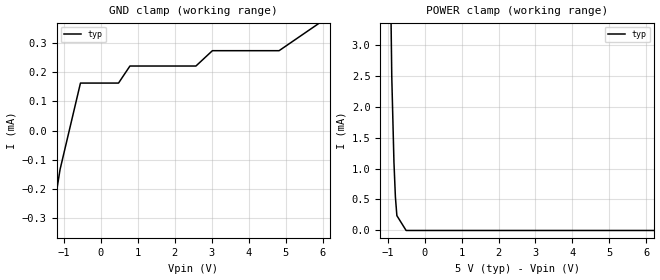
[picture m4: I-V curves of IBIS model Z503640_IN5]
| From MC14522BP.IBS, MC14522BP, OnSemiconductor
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| (C) COPYRIGHT 1993-2000
| MENTOR GRAPHICS CORPORATION
| ICX STANDARD LIBRARY, ICX PROJECT MODELING,
| ICX CUSTOM MODELING, ICX VENDOR MODEL
| ALL RIGHTS RESERVED.
| THE FOLLOWING ARE TRADEMARKS OR SERVICE MARKS OF
| MENTOR GRAPHICS CORPORATION:ICX (R), ICX STANDARD
| LIBRARY(R), ICX PROJECT MODELING(R), ICX CUSTOM
| MODELING(R), qualityIBIS(TM), MODELVIEWER(TM),
| AND MODELEDITOR(TM)
| ALL COPIES OF SOFTWARE, INCLUDING BUT NOT LIMITED TO
| ANY MODIFICATIONS, ENHANCEMENTS OR DERIVATIVE WORKS,
| MUST CONTAIN ALL MENTOR GRAPHICS CORPORATION'S
| NOTICES AND LEGENDS, INCLUDING THOSE EMBEDDED IN
| SOFTWARE AND THOSE AFFIXED TO SOFTWARE MEDIUM
| AND CONTAINER, AS RECEIVED FROM MENTOR GRAPHICS
| CORPORATION.
| Model Application Version 1.89 2/18/99.
[Model] Z503640_IN5
Model_type Input
Vinl = 1.500V
Vinh = 3.500V
C_comp 4.000pF NA NA
| variable typ   min   max
[Voltage Range] 5.000V NA NA
[GND Clamp Reference] 0.000V NA NA
[POWER Clamp Reference] 5.000V NA NA
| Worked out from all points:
|   POWER clamp passes 1 mA (typ) near -0.82 V on its own axis
[GND Clamp]
-5V       -3.228mA   NA         NA
-1.105V   -133.9uA   NA         NA
-552.5mV  162.8uA    NA         NA
477.5mV   162.8uA    NA         NA
786.4mV   221.3uA    NA         NA
2.572V    221.3uA    NA         NA
3.018V    273.9uA    NA         NA
4.822V    273.9uA    NA         NA
10V       724uA      NA         NA
[POWER Clamp]
-5V       386.2mA    NA         NA
-1.21V    22.32mA    NA         NA
-1.025V   8.783mA    NA         NA
-889mV    2.482mA    NA         NA
-830mV    1.101mA    NA         NA
-791mV    543.2uA    NA         NA
-751mV    239.7uA    NA         NA
-500.7mV  0A         NA         NA
10V       0A         NA         NA
